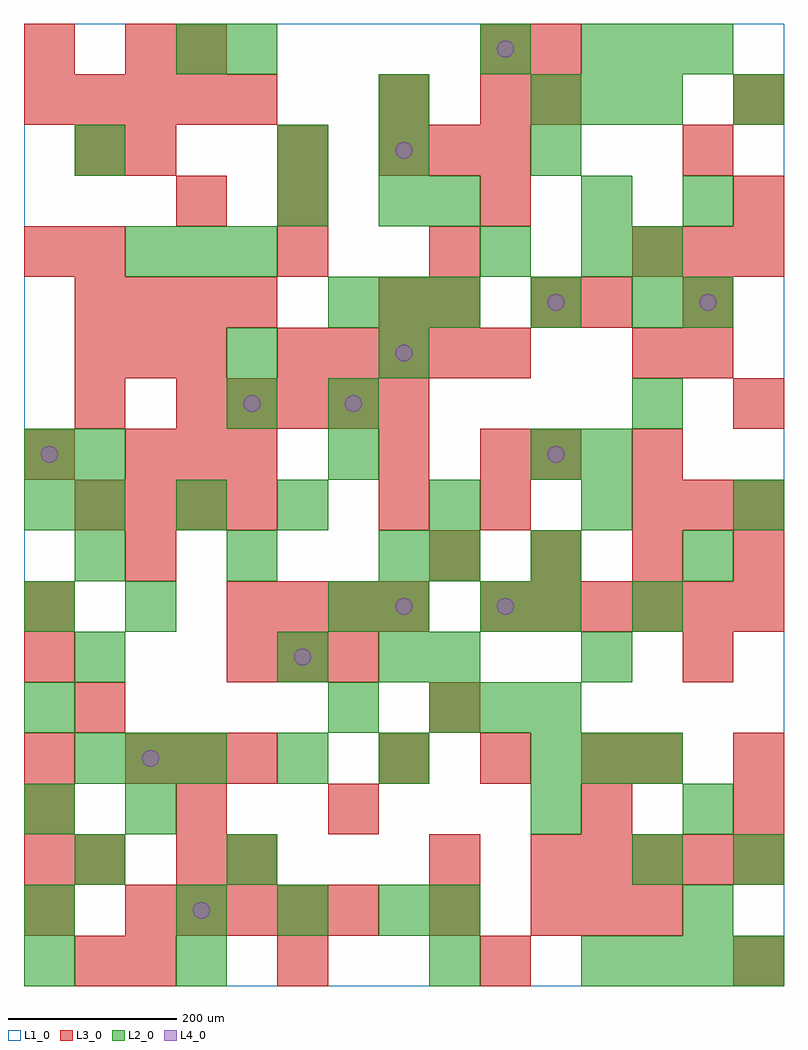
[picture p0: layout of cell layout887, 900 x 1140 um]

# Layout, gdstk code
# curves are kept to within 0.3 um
import gdstk
lib = gdstk.Library(unit=1e-6, precision=1e-09)
def R(c, l, rs):  # rectangles x0, y0, x1, y1
    for r in rs: c.add(gdstk.rectangle(r[:2], r[2:], *l))
def A(c, l, x, y, w, h, nx, ny, dx, dy):  # array of equal rectangles
    R(c, l, [(x+i*dx, y+j*dy, x+i*dx+w, y+j*dy+h) for i in range(nx) for j in range(ny)])
def P(c, l, *ps):  # polygons
    for p in ps: c.add(gdstk.Polygon(p, *l))
L1_0 = (1, 0)
L2_0 = (2, 0)
L3_0 = (3, 0)
L4_0 = (4, 0)

layout887 = lib.new_cell('layout887')
R(layout887, L1_0, [(0,0,900,1140)])
A(layout887, L2_0, 660, 0, 60, 60, 4, 1, 60, 0)
A(layout887, L2_0, 0, 60, 60, 60, 1, 5, 0, 120)
A(layout887, L2_0, 180, 60, 60, 60, 3, 1, 120, 0)
A(layout887, L2_0, 60, 120, 60, 60, 1, 3, 0, 240)
A(layout887, L2_0, 780, 180, 60, 60, 1, 3, 0, 300)
A(layout887, L2_0, 60, 240, 60, 60, 3, 1, 60, 0)
A(layout887, L2_0, 600, 240, 60, 60, 3, 2, 60, 780)
A(layout887, L2_0, 480, 300, 60, 60, 3, 1, 60, 0)
A(layout887, L2_0, 660, 360, 60, 60, 1, 3, 0, 240)
A(layout887, L2_0, 60, 480, 60, 60, 3, 1, 180, 0)
A(layout887, L2_0, 60, 540, 60, 60, 3, 1, 120, 0)
A(layout887, L2_0, 480, 540, 60, 60, 3, 1, 180, 0)
A(layout887, L2_0, 600, 600, 60, 60, 1, 3, 0, 180)
A(layout887, L2_0, 360, 780, 60, 60, 3, 1, 60, 0)
A(layout887, L2_0, 120, 840, 60, 60, 3, 1, 60, 0)
A(layout887, L2_0, 420, 900, 60, 60, 1, 3, 0, 60)
A(layout887, L2_0, 660, 1080, 60, 60, 3, 1, 60, 0)
R(layout887, L2_0, [(0,0,60,60), (180,0,240,60), (480,0,540,60), (480,60,540,120), (780,60,840,120), (240,120,300,180), (720,120,780,180), (840,120,900,180), (120,180,180,240), (600,180,660,240), (300,240,360,300), (420,240,480,300), (360,300,420,360), (300,360,360,420), (420,360,480,420), (480,360,540,420), (120,420,180,480), (360,420,420,480), (420,420,480,480), (540,420,600,480), (600,420,660,480), (720,420,780,480), (480,480,540,540), (600,480,660,540), (0,600,60,660), (360,600,420,660), (240,660,300,720), (360,660,420,720), (720,660,780,720), (240,720,300,780), (420,720,480,780), (720,780,780,840), (540,840,600,900), (720,840,780,900), (300,900,360,960), (480,900,540,960), (660,900,720,960), (780,900,840,960), (60,960,120,1020), (300,960,360,1020), (840,1020,900,1080), (180,1080,240,1140), (240,1080,300,1140), (540,1080,600,1140)])
A(layout887, L3_0, 120, 0, 60, 60, 1, 3, 0, 480)
A(layout887, L3_0, 120, 60, 60, 60, 5, 1, 60, 0)
A(layout887, L3_0, 600, 60, 60, 60, 3, 1, 60, 0)
A(layout887, L3_0, 0, 120, 60, 60, 1, 3, 0, 120)
A(layout887, L3_0, 600, 120, 60, 60, 5, 1, 60, 0)
A(layout887, L3_0, 0, 180, 60, 60, 3, 1, 180, 0)
A(layout887, L3_0, 120, 240, 60, 60, 3, 2, 60, 360)
A(layout887, L3_0, 420, 240, 60, 60, 3, 1, 120, 0)
A(layout887, L3_0, 240, 360, 60, 60, 3, 1, 60, 0)
A(layout887, L3_0, 240, 420, 60, 60, 4, 1, 60, 0)
A(layout887, L3_0, 540, 420, 60, 60, 6, 1, 60, 0)
A(layout887, L3_0, 480, 480, 60, 60, 4, 1, 120, 0)
A(layout887, L3_0, 60, 540, 60, 60, 4, 2, 60, 240)
A(layout887, L3_0, 720, 540, 60, 60, 3, 2, 60, 300)
A(layout887, L3_0, 0, 600, 60, 60, 1, 3, 0, 240)
A(layout887, L3_0, 180, 660, 60, 60, 5, 1, 60, 0)
A(layout887, L3_0, 60, 720, 60, 60, 3, 1, 60, 0)
A(layout887, L3_0, 300, 720, 60, 60, 5, 1, 60, 0)
A(layout887, L3_0, 300, 840, 60, 60, 1, 3, 0, 60)
A(layout887, L3_0, 420, 960, 60, 60, 3, 1, 60, 0)
A(layout887, L3_0, 0, 1020, 60, 60, 5, 1, 60, 0)
R(layout887, L3_0, [(60,0,120,60), (300,0,360,60), (540,0,600,60), (840,0,900,60), (0,60,60,120), (480,60,540,120), (60,120,120,180), (180,120,240,180), (240,120,300,180), (480,120,540,180), (660,180,720,240), (840,180,900,240), (720,240,780,300), (840,240,900,300), (60,300,120,360), (480,300,540,360), (780,360,840,420), (0,420,60,480), (420,540,480,600), (540,540,600,600), (420,600,480,660), (540,600,600,660), (600,600,660,660), (720,600,780,660), (60,660,120,720), (840,660,900,720), (720,720,780,780), (780,720,840,780), (420,780,480,840), (480,780,540,840), (600,780,660,840), (660,780,720,840), (780,780,840,840), (60,840,120,900), (480,840,540,900), (180,900,240,960), (540,900,600,960), (840,900,900,960), (60,960,120,1020), (780,960,840,1020), (420,1020,480,1080), (540,1020,600,1080), (600,1020,660,1080), (840,1020,900,1080), (120,1080,180,1140), (180,1080,240,1140), (540,1080,600,1140), (600,1080,660,1140)])
P(layout887, L4_0, [(40,630),(39.239,633.827),(37.071,637.071),(33.827,639.239),(30,640),(26.173,639.239),(22.929,637.071),(20.761,633.827),(20,630),(20.761,626.173),(22.929,622.929),(26.173,620.761),(30,620),(33.827,620.761),(37.071,622.929),(39.239,626.173)],
  [(160,270),(159.239,273.827),(157.071,277.071),(153.827,279.239),(150,280),(146.173,279.239),(142.929,277.071),(140.761,273.827),(140,270),(140.761,266.173),(142.929,262.929),(146.173,260.761),(150,260),(153.827,260.761),(157.071,262.929),(159.239,266.173)],
  [(220,90),(219.239,93.827),(217.071,97.071),(213.827,99.239),(210,100),(206.173,99.239),(202.929,97.071),(200.761,93.827),(200,90),(200.761,86.173),(202.929,82.929),(206.173,80.761),(210,80),(213.827,80.761),(217.071,82.929),(219.239,86.173)],
  [(280,690),(279.239,693.827),(277.071,697.071),(273.827,699.239),(270,700),(266.173,699.239),(262.929,697.071),(260.761,693.827),(260,690),(260.761,686.173),(262.929,682.929),(266.173,680.761),(270,680),(273.827,680.761),(277.071,682.929),(279.239,686.173)],
  [(340,390),(339.239,393.827),(337.071,397.071),(333.827,399.239),(330,400),(326.173,399.239),(322.929,397.071),(320.761,393.827),(320,390),(320.761,386.173),(322.929,382.929),(326.173,380.761),(330,380),(333.827,380.761),(337.071,382.929),(339.239,386.173)],
  [(400,690),(399.239,693.827),(397.071,697.071),(393.827,699.239),(390,700),(386.173,699.239),(382.929,697.071),(380.761,693.827),(380,690),(380.761,686.173),(382.929,682.929),(386.173,680.761),(390,680),(393.827,680.761),(397.071,682.929),(399.239,686.173)],
  [(460,450),(459.239,453.827),(457.071,457.071),(453.827,459.239),(450,460),(446.173,459.239),(442.929,457.071),(440.761,453.827),(440,450),(440.761,446.173),(442.929,442.929),(446.173,440.761),(450,440),(453.827,440.761),(457.071,442.929),(459.239,446.173)],
  [(460,750),(459.239,753.827),(457.071,757.071),(453.827,759.239),(450,760),(446.173,759.239),(442.929,757.071),(440.761,753.827),(440,750),(440.761,746.173),(442.929,742.929),(446.173,740.761),(450,740),(453.827,740.761),(457.071,742.929),(459.239,746.173)],
  [(460,990),(459.239,993.827),(457.071,997.071),(453.827,999.239),(450,1000),(446.173,999.239),(442.929,997.071),(440.761,993.827),(440,990),(440.761,986.173),(442.929,982.929),(446.173,980.761),(450,980),(453.827,980.761),(457.071,982.929),(459.239,986.173)],
  [(580,450),(579.239,453.827),(577.071,457.071),(573.827,459.239),(570,460),(566.173,459.239),(562.929,457.071),(560.761,453.827),(560,450),(560.761,446.173),(562.929,442.929),(566.173,440.761),(570,440),(573.827,440.761),(577.071,442.929),(579.239,446.173)],
  [(580,1110),(579.239,1113.827),(577.071,1117.071),(573.827,1119.239),(570,1120),(566.173,1119.239),(562.929,1117.071),(560.761,1113.827),(560,1110),(560.761,1106.173),(562.929,1102.929),(566.173,1100.761),(570,1100),(573.827,1100.761),(577.071,1102.929),(579.239,1106.173)],
  [(640,630),(639.239,633.827),(637.071,637.071),(633.827,639.239),(630,640),(626.173,639.239),(622.929,637.071),(620.761,633.827),(620,630),(620.761,626.173),(622.929,622.929),(626.173,620.761),(630,620),(633.827,620.761),(637.071,622.929),(639.239,626.173)],
  [(640,810),(639.239,813.827),(637.071,817.071),(633.827,819.239),(630,820),(626.173,819.239),(622.929,817.071),(620.761,813.827),(620,810),(620.761,806.173),(622.929,802.929),(626.173,800.761),(630,800),(633.827,800.761),(637.071,802.929),(639.239,806.173)],
  [(820,810),(819.239,813.827),(817.071,817.071),(813.827,819.239),(810,820),(806.173,819.239),(802.929,817.071),(800.761,813.827),(800,810),(800.761,806.173),(802.929,802.929),(806.173,800.761),(810,800),(813.827,800.761),(817.071,802.929),(819.239,806.173)])

lib.write_gds('layout887.gds')
